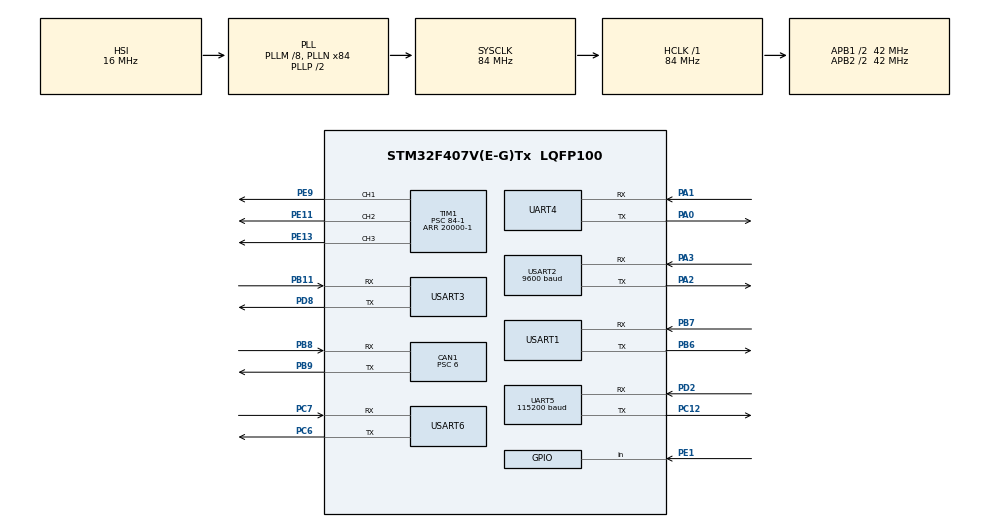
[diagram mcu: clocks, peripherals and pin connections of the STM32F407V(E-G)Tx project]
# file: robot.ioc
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CAN1.AWUM=ENABLE
CAN1.BS1=CAN_BS1_5TQ
CAN1.CalculateBaudRate=1000000
CAN1.CalculateTimeBit=1000
CAN1.CalculateTimeQuantum=142.85714285714286
CAN1.NART=ENABLE
CAN1.Prescaler=6
CAN1.SJW=CAN_SJW_2TQ
Mcu.Family=STM32F4
Mcu.Name=STM32F407V(E-G)Tx
Mcu.Package=LQFP100
NVIC.CAN1_RX0_IRQn=true\:0\:0\:false\:false\:true\:true\:true\:true
NVIC.CAN1_RX1_IRQn=true\:0\:0\:false\:false\:true\:true\:true\:true
NVIC.PriorityGroup=NVIC_PRIORITYGROUP_4
NVIC.TIM1_UP_TIM10_IRQn=true\:0\:0\:false\:false\:true\:true\:true\:true
NVIC.UART4_IRQn=true\:0\:0\:false\:false\:true\:true\:true\:true
NVIC.UART5_IRQn=true\:0\:0\:false\:false\:true\:true\:true\:true
NVIC.USART1_IRQn=true\:0\:0\:false\:false\:true\:true\:true\:true
NVIC.USART2_IRQn=true\:0\:0\:false\:false\:true\:true\:true\:true
NVIC.USART3_IRQn=true\:0\:0\:false\:false\:true\:true\:true\:true
NVIC.USART6_IRQn=true\:0\:0\:false\:false\:true\:true\:true\:true
PA0-WKUP.Mode=Asynchronous
PA0-WKUP.Signal=UART4_TX
PA1.Mode=Asynchronous
PA1.Signal=UART4_RX
PA13.Mode=Serial_Wire
PA13.Signal=SYS_JTMS-SWDIO
PA14.Mode=Serial_Wire
PA14.Signal=SYS_JTCK-SWCLK
PA2.Mode=Asynchronous
PA2.Signal=USART2_TX
PA3.Mode=Asynchronous
PA3.Signal=USART2_RX
PB11.Mode=Asynchronous
PB11.Signal=USART3_RX
PB6.Mode=Asynchronous
PB6.Signal=USART1_TX
PB7.Mode=Asynchronous
PB7.Signal=USART1_RX
PB8.Mode=CAN_Activate
PB8.Signal=CAN1_RX
PB9.Mode=CAN_Activate
PB9.Signal=CAN1_TX
PC12.Mode=Asynchronous
PC12.Signal=UART5_TX
PC6.Mode=Asynchronous
PC6.Signal=USART6_TX
PC7.Mode=Asynchronous
PC7.Signal=USART6_RX
PD2.Mode=Asynchronous
PD2.Signal=UART5_RX
PD8.Mode=Asynchronous
PD8.Signal=USART3_TX
PE1.GPIO_PuPd=GPIO_PULLUP
PE1.Signal=GPIO_Input
PE11.Signal=S_TIM1_CH2
PE13.Signal=S_TIM1_CH3
PE9.Signal=S_TIM1_CH1
ProjectManager.HeapSize=0x200
ProjectManager.StackSize=0x400
ProjectManager.TargetToolchain=MDK-ARM V5.32
RCC.48MHZClocksFreq_Value=42000000
RCC.AHBFreq_Value=84000000
RCC.APB1CLKDivider=RCC_HCLK_DIV2
RCC.APB1Freq_Value=42000000
RCC.APB1TimFreq_Value=84000000
RCC.APB2CLKDivider=RCC_HCLK_DIV2
RCC.APB2Freq_Value=42000000
RCC.APB2TimFreq_Value=84000000
RCC.CortexFreq_Value=84000000
RCC.HCLKFreq_Value=84000000
RCC.HSE_VALUE=25000000
RCC.HSI_VALUE=16000000
RCC.LSE_VALUE=32768
RCC.PLLM=8
RCC.PLLN=84
RCC.SYSCLKFreq_VALUE=84000000
RCC.SYSCLKSource=RCC_SYSCLKSOURCE_PLLCLK
RCC.VCOOutputFreq_Value=168000000
SH.S_TIM1_CH1.0=TIM1_CH1,PWM Generation1 CH1
SH.S_TIM1_CH2.0=TIM1_CH2,PWM Generation2 CH2
SH.S_TIM1_CH3.0=TIM1_CH3,PWM Generation3 CH3
TIM1.AutoReloadPreload=TIM_AUTORELOAD_PRELOAD_ENABLE
TIM1.Channel-PWM\ Generation1\ CH1=TIM_CHANNEL_1
TIM1.Channel-PWM\ Generation2\ CH2=TIM_CHANNEL_2
TIM1.Channel-PWM\ Generation3\ CH3=TIM_CHANNEL_3
TIM1.Period=20000-1
TIM1.Prescaler=84-1
UART4.VirtualMode=Asynchronous
UART5.BaudRate=115200
UART5.VirtualMode=Asynchronous
USART1.VirtualMode=VM_ASYNC
USART2.BaudRate=9600
USART2.VirtualMode=VM_ASYNC
USART3.VirtualMode=VM_ASYNC
USART6.VirtualMode=VM_ASYNC
VP_TIM1_VS_ClockSourceINT.Mode=Internal
board=custom

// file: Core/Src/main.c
/* USER CODE BEGIN Header */
/**
  ******************************************************************************
  * @file           : main.c
  * @brief          : Main program body
  ******************************************************************************
  * @attention
  *
  * Copyright (c) 2025 STMicroelectronics.
  * All rights reserved.
  *
  * This software is licensed under terms that can be found in the LICENSE file
  * in the root directory of this software component.
  * If no LICENSE file comes with this software, it is provided AS-IS.
  *
  ******************************************************************************
  */
/* USER CODE END Header */
#include "main.h"
#include "can.h"
#include "tim.h"
#include "usart.h"
#include "gpio.h"

/* USER CODE BEGIN Includes */
#include "motor.h"
#include "mctrl.h"
#include "stm32f4xx_it.h"
#include "roboarm.h"
#include "control.h"
#include "motion.h"
#include "function.h"
#include "duiji.h"
#include "jy61p.h"
#include "state.h"
#include "pid.h"
#include "tjc_usart_hmi.h"
#include "dm_imu.h"
#include "vision_follow.h"
#include "web_control.h"
#include "logistics_task.h"
#include "app_rtos.h"
#include "motor_bus.h"
#include "robot_control.h"
/* USER CODE END Includes */

/* USER CODE BEGIN PV */
extern uint8_t RxData;
extern uint8_t Openmv_Column_RxPacket[2]; //视觉色块数据接收数组
extern uint8_t Openmv_Annular_RxPacket[2]; ////视觉色环数据接收数组
extern uint8_t g_usart_receivedata;
extern uint8_t aRxBuffer;
extern uint8_t San_Data[8]; //扫码数据接收数组
char str[100];
extern int zero, start; //清零，状态机运行
extern uint16_t task1_flag;
extern float set_angle;
int D1, D2, D3, D4;
extern int16_t tasklimit;

//uint8_t tempBuffer=0,RxBuffer1;
/* USER CODE END PV */

void SystemClock_Config(void);

int main(void)
{
    /* MCU Configuration--------------------------------------------------------*/
    /* Reset of all peripherals, Initializes the Flash interface and the Systick. */
    HAL_Init();
    /* Configure the system clock */
    SystemClock_Config();
    /* Initialize all configured peripherals */
    MX_GPIO_Init();
    MX_TIM1_Init();
    MX_USART1_UART_Init();
    MX_USART6_UART_Init();
    MX_UART5_Init();
    MX_USART2_UART_Init();
    MX_USART3_UART_Init();
    MX_UART4_Init();
    MX_CAN1_Init();
    /* USER CODE BEGIN 2 */
    motor_init();
    (void)Duoji_SetPresets(GRAB, OPEN, IN, OUT);
    WebControl_Init();
    HAL_UART_Receive_IT(&huart6, &RxData, 1);
    HAL_UART_Receive_IT(&huart5, &g_usart_receivedata, 1);
    HAL_UART_Receive_IT(&huart1, (uint8_t *)&aRxBuffer, 1);
    HAL_TIM_Base_Start_IT(&htim1);
    Serial_JY61P_Zero_Yaw();
    PID_init();
    initRingBuffer();
    /* Create RTOS objects after all HAL delays and hardware initialization.
     * FreeRTOS may mask interrupts while objects are created before startup. */
    MotorBus_Init();
    RobotControl_Init();
    AppRtos_Start();
    /* USER CODE END 2 */
    /* USER CODE BEGIN WHILE */
    while (1) {
        /* The scheduler owns execution after AppRtos_Start. */
    }
    /* USER CODE END WHILE */
}

void SystemClock_Config(void)
{
    RCC_OscInitTypeDef RCC_OscInitStruct = {0};
    RCC_ClkInitTypeDef RCC_ClkInitStruct = {0};
    /** Configure the main internal regulator output voltage
    */
    __HAL_RCC_PWR_CLK_ENABLE();
    __HAL_PWR_VOLTAGESCALING_CONFIG(PWR_REGULATOR_VOLTAGE_SCALE1);
    /** Initializes the RCC Oscillators according to the specified parameters
    * in the RCC_OscInitTypeDef structure.
    */
    RCC_OscInitStruct.OscillatorType = RCC_OSCILLATORTYPE_HSI;
    RCC_OscInitStruct.HSIState = RCC_HSI_ON;
    RCC_OscInitStruct.HSICalibrationValue = RCC_HSICALIBRATION_DEFAULT;
    RCC_OscInitStruct.PLL.PLLState = RCC_PLL_ON;
    RCC_OscInitStruct.PLL.PLLSource = RCC_PLLSOURCE_HSI;
    RCC_OscInitStruct.PLL.PLLM = 8;
    RCC_OscInitStruct.PLL.PLLN = 84;
    RCC_OscInitStruct.PLL.PLLP = RCC_PLLP_DIV2;
    RCC_OscInitStruct.PLL.PLLQ = 4;

    if (HAL_RCC_OscConfig(&RCC_OscInitStruct) != HAL_OK) {
        Error_Handler();
    }

    /** Initializes the CPU, AHB and APB buses clocks
    */
    RCC_ClkInitStruct.ClockType = RCC_CLOCKTYPE_HCLK | RCC_CLOCKTYPE_SYSCLK
                                  | RCC_CLOCKTYPE_PCLK1 | RCC_CLOCKTYPE_PCLK2;
    RCC_ClkInitStruct.SYSCLKSource = RCC_SYSCLKSOURCE_PLLCLK;
    RCC_ClkInitStruct.AHBCLKDivider = RCC_SYSCLK_DIV1;
    RCC_ClkInitStruct.APB1CLKDivider = RCC_HCLK_DIV2;
    RCC_ClkInitStruct.APB2CLKDivider = RCC_HCLK_DIV2;

    if (HAL_RCC_ClockConfig(&RCC_ClkInitStruct, FLASH_LATENCY_2) != HAL_OK) {
        Error_Handler();
    }
}

void Error_Handler(void)
{
    __disable_irq();
    while (1) {
    }
}
